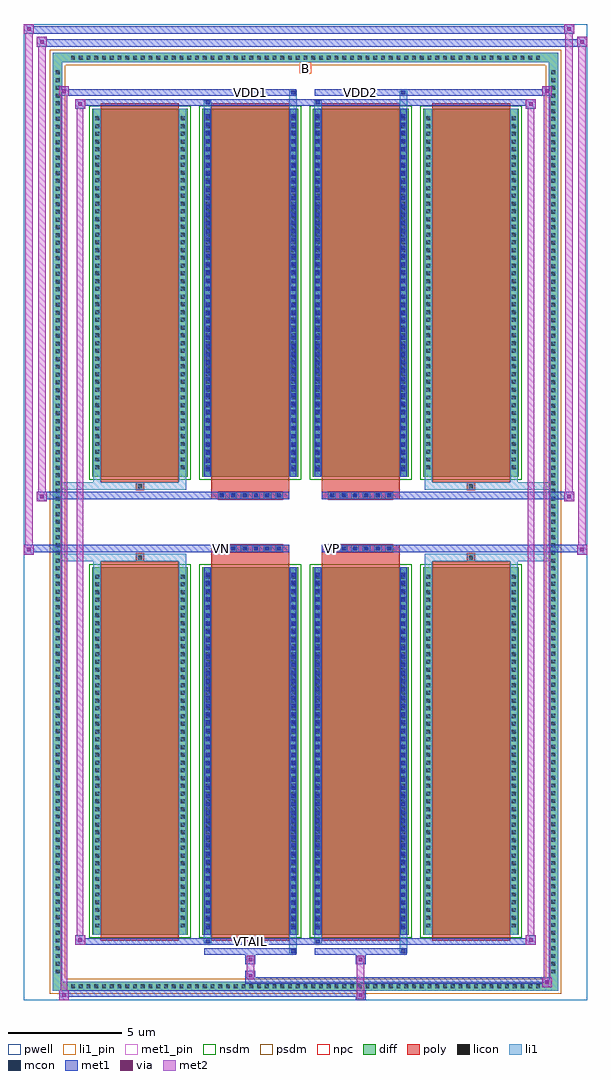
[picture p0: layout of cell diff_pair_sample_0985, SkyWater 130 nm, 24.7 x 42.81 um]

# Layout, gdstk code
import gdstk
lib = gdstk.Library(unit=1e-6, precision=5e-09)
def R(c, l, rs):  # rectangles x0, y0, x1, y1
    for r in rs: c.add(gdstk.rectangle(r[:2], r[2:], *l))
def A(c, l, x, y, w, h, nx, ny, dx, dy):  # array of equal rectangles
    R(c, l, [(x+i*dx, y+j*dy, x+i*dx+w, y+j*dy+h) for i in range(nx) for j in range(ny)])
def P(c, l, *ps):  # polygons
    for p in ps: c.add(gdstk.Polygon(p, *l))
pwell = (64, 44)
diff = (65, 20)
poly = (66, 20)
licon = (66, 44)
li1_pin = (67, 16)
li1 = (67, 20)
mcon = (67, 44)
met1_pin = (68, 16)
met1 = (68, 20)
via = (68, 44)
met2 = (69, 20)
nsdm = (93, 44)
psdm = (94, 20)
npc = (95, 20)

diff_pair_sample_0985 = lib.new_cell('diff_pair_sample_0985')
R(diff_pair_sample_0985, pwell, [(-12.35,-20.97,12.35,21.84), (-9.67,-19.16,-0.01,-0.8), (0.01,-19.16,9.67,-0.8), (-9.67,0.8,-0.01,19.16), (0.01,0.8,9.67,19.16)])
A(diff_pair_sample_0985, diff, -10.405, -20.57, 0.41, 0.41, 61, 2, 0.34, 40.73)
A(diff_pair_sample_0985, diff, -11.08, -19.925, 0.41, 0.41, 1, 117, 0, 0.34)
A(diff_pair_sample_0985, diff, 10.67, -19.925, 0.41, 0.41, 1, 117, 0, 0.34)
A(diff_pair_sample_0985, diff, -9.36, -18.115, 4.2, 16.13, 4, 2, 4.84, 20.1)
R(diff_pair_sample_0985, diff, [(-10.405,-20.57,10.405,-20.16), (-11.08,-19.925,-10.67,19.925), (10.67,-19.925,11.08,19.925), (-10.405,20.16,10.405,20.57)])
P(diff_pair_sample_0985, diff, [(11.08,20.57),(-11.08,20.57),(-11.08,-20.16),(-10.67,-20.16),(-10.67,20.16),(10.67,20.16),(10.67,-20.16),(-10.67,-20.16),(-11.08,-20.16),(-11.08,-20.57),(11.08,-20.57)])
A(diff_pair_sample_0985, poly, -8.97, -18.365, 3.42, 16.63, 4, 2, 4.84, 20.1)
A(diff_pair_sample_0985, poly, -3.835, -1.33, 0.33, 0.33, 6, 2, 0.5, 2.33)
A(diff_pair_sample_0985, poly, 1.005, -1.33, 0.33, 0.33, 6, 2, 0.5, 2.33)
R(diff_pair_sample_0985, poly, [(-7.425,-1.735,-7.095,-1.405), (-7.425,-1.735,-7.095,-1.405), (-4.13,-1.735,-0.71,-1.33), (0.71,-1.735,4.13,-1.33), (7.095,-1.735,7.425,-1.405), (7.095,-1.735,7.425,-1.405), (-4.13,-1.33,-0.71,-1), (0.71,-1.33,4.13,-1), (-4.13,1,-0.71,1.33), (0.71,1,4.13,1.33), (-4.13,1.33,-0.71,1.735), (0.71,1.33,4.13,1.735), (-7.425,1.405,-7.095,1.735), (-7.425,1.405,-7.095,1.735), (7.095,1.405,7.425,1.735), (7.095,1.405,7.425,1.735)])
A(diff_pair_sample_0985, licon, -10.285, -20.45, 0.17, 0.17, 61, 2, 0.34, 40.73)
A(diff_pair_sample_0985, licon, -10.96, -19.805, 0.17, 0.17, 1, 117, 0, 0.34)
A(diff_pair_sample_0985, licon, 10.79, -19.805, 0.17, 0.17, 1, 117, 0, 0.34)
A(diff_pair_sample_0985, licon, -9.22, -17.785, 0.17, 0.17, 1, 46, 0, 0.34)
A(diff_pair_sample_0985, licon, -5.47, -17.785, 0.17, 0.17, 1, 46, 0, 0.34)
A(diff_pair_sample_0985, licon, -4.38, -17.785, 0.17, 0.17, 1, 46, 0, 0.34)
A(diff_pair_sample_0985, licon, -0.63, -17.785, 0.17, 0.17, 1, 46, 0, 0.34)
A(diff_pair_sample_0985, licon, 0.46, -17.785, 0.17, 0.17, 1, 46, 0, 0.34)
A(diff_pair_sample_0985, licon, 4.21, -17.785, 0.17, 0.17, 1, 46, 0, 0.34)
A(diff_pair_sample_0985, licon, 5.3, -17.785, 0.17, 0.17, 1, 46, 0, 0.34)
A(diff_pair_sample_0985, licon, 9.05, -17.785, 0.17, 0.17, 1, 46, 0, 0.34)
A(diff_pair_sample_0985, licon, -3.755, -1.25, 0.17, 0.17, 6, 2, 0.5, 2.33)
A(diff_pair_sample_0985, licon, 1.085, -1.25, 0.17, 0.17, 6, 2, 0.5, 2.33)
A(diff_pair_sample_0985, licon, -9.22, 2.315, 0.17, 0.17, 1, 46, 0, 0.34)
A(diff_pair_sample_0985, licon, -5.47, 2.315, 0.17, 0.17, 1, 46, 0, 0.34)
A(diff_pair_sample_0985, licon, -4.38, 2.315, 0.17, 0.17, 1, 46, 0, 0.34)
A(diff_pair_sample_0985, licon, -0.63, 2.315, 0.17, 0.17, 1, 46, 0, 0.34)
A(diff_pair_sample_0985, licon, 0.46, 2.315, 0.17, 0.17, 1, 46, 0, 0.34)
A(diff_pair_sample_0985, licon, 4.21, 2.315, 0.17, 0.17, 1, 46, 0, 0.34)
A(diff_pair_sample_0985, licon, 5.3, 2.315, 0.17, 0.17, 1, 46, 0, 0.34)
A(diff_pair_sample_0985, licon, 9.05, 2.315, 0.17, 0.17, 1, 46, 0, 0.34)
R(diff_pair_sample_0985, licon, [(-7.345,-1.655,-7.175,-1.485), (7.175,-1.655,7.345,-1.485), (-7.345,1.485,-7.175,1.655), (7.175,1.485,7.345,1.655)])
R(diff_pair_sample_0985, li1_pin, [(-0.25,19.66,0.25,20.16)])
A(diff_pair_sample_0985, li1, -10.365, -20.53, 0.33, 0.33, 61, 2, 0.34, 40.73)
A(diff_pair_sample_0985, li1, -11.04, -19.885, 0.33, 0.33, 1, 117, 0, 0.34)
A(diff_pair_sample_0985, li1, 10.71, -19.885, 0.33, 0.33, 1, 117, 0, 0.34)
A(diff_pair_sample_0985, li1, -4.38, -17.875, 0.17, 0.17, 1, 44, 0, 0.36)
A(diff_pair_sample_0985, li1, -0.63, -17.875, 0.17, 0.17, 1, 44, 0, 0.36)
A(diff_pair_sample_0985, li1, 0.46, -17.875, 0.17, 0.17, 1, 44, 0, 0.36)
A(diff_pair_sample_0985, li1, 4.21, -17.875, 0.17, 0.17, 1, 44, 0, 0.36)
A(diff_pair_sample_0985, li1, -9.3, -17.865, 0.33, 0.33, 1, 46, 0, 0.34)
A(diff_pair_sample_0985, li1, -5.55, -17.865, 0.33, 0.33, 1, 46, 0, 0.34)
A(diff_pair_sample_0985, li1, -4.46, -17.865, 0.33, 0.33, 1, 46, 0, 0.34)
A(diff_pair_sample_0985, li1, -0.71, -17.865, 0.33, 0.33, 1, 46, 0, 0.34)
A(diff_pair_sample_0985, li1, 0.38, -17.865, 0.33, 0.33, 1, 46, 0, 0.34)
A(diff_pair_sample_0985, li1, 4.13, -17.865, 0.33, 0.33, 1, 46, 0, 0.34)
A(diff_pair_sample_0985, li1, 5.22, -17.865, 0.33, 0.33, 1, 46, 0, 0.34)
A(diff_pair_sample_0985, li1, 8.97, -17.865, 0.33, 0.33, 1, 46, 0, 0.34)
A(diff_pair_sample_0985, li1, -3.835, -1.33, 0.33, 0.33, 6, 2, 0.5, 2.33)
A(diff_pair_sample_0985, li1, 1.005, -1.33, 0.33, 0.33, 6, 2, 0.5, 2.33)
A(diff_pair_sample_0985, li1, -4.38, 2.225, 0.17, 0.17, 1, 44, 0, 0.36)
A(diff_pair_sample_0985, li1, -0.63, 2.225, 0.17, 0.17, 1, 44, 0, 0.36)
A(diff_pair_sample_0985, li1, 0.46, 2.225, 0.17, 0.17, 1, 44, 0, 0.36)
A(diff_pair_sample_0985, li1, 4.21, 2.225, 0.17, 0.17, 1, 44, 0, 0.36)
A(diff_pair_sample_0985, li1, -9.3, 2.235, 0.33, 0.33, 1, 46, 0, 0.34)
A(diff_pair_sample_0985, li1, -5.55, 2.235, 0.33, 0.33, 1, 46, 0, 0.34)
A(diff_pair_sample_0985, li1, -4.46, 2.235, 0.33, 0.33, 1, 46, 0, 0.34)
A(diff_pair_sample_0985, li1, -0.71, 2.235, 0.33, 0.33, 1, 46, 0, 0.34)
A(diff_pair_sample_0985, li1, 0.38, 2.235, 0.33, 0.33, 1, 46, 0, 0.34)
A(diff_pair_sample_0985, li1, 4.13, 2.235, 0.33, 0.33, 1, 46, 0, 0.34)
A(diff_pair_sample_0985, li1, 5.22, 2.235, 0.33, 0.33, 1, 46, 0, 0.34)
A(diff_pair_sample_0985, li1, 8.97, 2.235, 0.33, 0.33, 1, 46, 0, 0.34)
R(diff_pair_sample_0985, li1, [(-11.08,-20.57,-10.67,-20.16), (-11.08,-20.57,-10.67,-20.16), (-10.67,-20.57,10.67,-20.16), (10.67,-20.57,11.08,-20.16), (10.67,-20.57,11.08,-20.16), (-11.08,-20.16,-10.67,20.16), (10.67,-20.16,11.08,20.16), (-0.71,-18.92,-0.38,-18.115), (-0.63,-18.92,-0.46,-18.75), (4.13,-18.92,4.46,-18.115), (4.21,-18.92,4.38,-18.75), (-4.46,-18.49,-4.13,-18.115), (-4.38,-18.49,-4.21,-18.32), (0.38,-18.49,0.71,-18.115), (0.46,-18.49,0.63,-18.32), (-9.3,-18.115,-8.97,-1.985), (-5.55,-18.115,-5.22,-1.985), (-4.46,-18.115,-4.13,-1.985), (-0.71,-18.115,-0.38,-1.985), (0.38,-18.115,0.71,-1.985), (4.13,-18.115,4.46,-1.985), (5.22,-18.115,5.55,-1.985), (8.97,-18.115,9.3,-1.985), (-4.38,-17.875,-4.21,-2.225), (-0.63,-17.875,-0.46,-2.225), (0.46,-17.875,0.63,-2.225), (4.21,-17.875,4.38,-2.225), (-9.3,-1.985,-8.97,-1.405), (-5.55,-1.985,-5.22,-1.405), (5.22,-1.985,5.55,-1.405), (8.97,-1.985,9.3,-1.405), (-11.08,-1.735,-7.425,-1.405), (-9.3,-1.735,-7.425,-1.405), (-7.425,-1.735,-7.095,-1.405), (-7.095,-1.735,-5.22,-1.405), (5.22,-1.735,7.095,-1.405), (7.095,-1.735,7.425,-1.405), (7.095,-1.735,11.08,-1.405), (7.425,-1.735,9.3,-1.405), (-11.08,1.405,-7.425,1.735), (-9.3,1.405,-7.425,1.735), (-9.3,1.405,-8.97,1.985), (-7.425,1.405,-7.095,1.735), (-7.095,1.405,-5.22,1.735), (-5.55,1.405,-5.22,1.985), (5.22,1.405,7.095,1.735), (5.22,1.405,5.55,1.985), (7.095,1.405,7.425,1.735), (7.095,1.405,11.08,1.735), (7.425,1.405,9.3,1.735), (8.97,1.405,9.3,1.985), (-9.3,1.985,-8.97,18.115), (-5.55,1.985,-5.22,18.115), (-4.46,1.985,-4.13,18.115), (-0.71,1.985,-0.38,18.115), (0.38,1.985,0.71,18.115), (4.13,1.985,4.46,18.115), (5.22,1.985,5.55,18.115), (8.97,1.985,9.3,18.115), (-4.38,2.225,-4.21,17.875), (-0.63,2.225,-0.46,17.875), (0.46,2.225,0.63,17.875), (4.21,2.225,4.38,17.875), (-4.46,18.115,-4.13,18.49), (-0.71,18.115,-0.38,18.92), (0.38,18.115,0.71,18.49), (4.13,18.115,4.46,18.92), (-4.38,18.32,-4.21,18.49), (0.46,18.32,0.63,18.49), (-0.63,18.75,-0.46,18.92), (4.21,18.75,4.38,18.92), (-11.08,20.16,-10.67,20.57), (-11.08,20.16,-10.67,20.57), (-10.67,20.16,10.67,20.57), (10.67,20.16,11.08,20.57), (10.67,20.16,11.08,20.57)])
A(diff_pair_sample_0985, mcon, -4.38, -17.875, 0.17, 0.17, 1, 44, 0, 0.36)
A(diff_pair_sample_0985, mcon, -0.63, -17.875, 0.17, 0.17, 1, 44, 0, 0.36)
A(diff_pair_sample_0985, mcon, 0.46, -17.875, 0.17, 0.17, 1, 44, 0, 0.36)
A(diff_pair_sample_0985, mcon, 4.21, -17.875, 0.17, 0.17, 1, 44, 0, 0.36)
A(diff_pair_sample_0985, mcon, -3.755, -1.25, 0.17, 0.17, 6, 2, 0.5, 2.33)
A(diff_pair_sample_0985, mcon, 1.085, -1.25, 0.17, 0.17, 6, 2, 0.5, 2.33)
A(diff_pair_sample_0985, mcon, -4.38, 2.225, 0.17, 0.17, 1, 44, 0, 0.36)
A(diff_pair_sample_0985, mcon, -0.63, 2.225, 0.17, 0.17, 1, 44, 0, 0.36)
A(diff_pair_sample_0985, mcon, 0.46, 2.225, 0.17, 0.17, 1, 44, 0, 0.36)
A(diff_pair_sample_0985, mcon, 4.21, 2.225, 0.17, 0.17, 1, 44, 0, 0.36)
R(diff_pair_sample_0985, mcon, [(-0.63,-18.92,-0.46,-18.75), (4.21,-18.92,4.38,-18.75), (-4.38,-18.49,-4.21,-18.32), (0.46,-18.49,0.63,-18.32), (-4.38,18.32,-4.21,18.49), (0.46,18.32,0.63,18.49), (-0.63,18.75,-0.46,18.92), (4.21,18.75,4.38,18.92)])
R(diff_pair_sample_0985, met1_pin, [(-2.555,-18.53,-2.285,-18.26), (-3.805,-1.29,-3.535,-1.02), (1.035,-1.29,1.305,-1.02), (-2.555,18.71,-2.285,18.98), (2.285,18.71,2.555,18.98)])
A(diff_pair_sample_0985, met1, -4.44, -17.935, 0.29, 0.29, 1, 44, 0, 0.36)
A(diff_pair_sample_0985, met1, -0.69, -17.935, 0.29, 0.29, 1, 44, 0, 0.36)
A(diff_pair_sample_0985, met1, 0.4, -17.935, 0.29, 0.29, 1, 44, 0, 0.36)
A(diff_pair_sample_0985, met1, 4.15, -17.935, 0.29, 0.29, 1, 44, 0, 0.36)
A(diff_pair_sample_0985, met1, -3.815, -1.31, 0.29, 0.29, 6, 2, 0.5, 2.33)
A(diff_pair_sample_0985, met1, 1.025, -1.31, 0.29, 0.29, 6, 2, 0.5, 2.33)
A(diff_pair_sample_0985, met1, -4.44, 2.165, 0.29, 0.29, 1, 44, 0, 0.36)
A(diff_pair_sample_0985, met1, -0.69, 2.165, 0.29, 0.29, 1, 44, 0, 0.36)
A(diff_pair_sample_0985, met1, 0.4, 2.165, 0.29, 0.29, 1, 44, 0, 0.36)
A(diff_pair_sample_0985, met1, 4.15, 2.165, 0.29, 0.29, 1, 44, 0, 0.36)
R(diff_pair_sample_0985, met1, [(-10.81,-20.97,-10.38,-20.54), (2.205,-20.97,2.635,-20.54), (-10.81,-20.83,2.635,-20.54), (10.38,-20.4,10.81,-19.97), (-2.635,-20.26,10.81,-19.97), (-2.635,-20.12,-2.205,-19.69), (-2.635,-19.41,-2.205,-18.98), (2.205,-19.41,2.635,-18.98), (-4.44,-18.98,-0.4,-18.69), (-0.69,-18.98,-0.4,-18.69), (0.4,-18.98,4.44,-18.69), (4.15,-18.98,4.44,-18.69), (-10.1,-18.55,-9.67,-18.12), (-10.1,-18.55,-4.44,-18.26), (-4.44,-18.55,-4.15,-18.26), (-4.44,-18.55,-0.4,-18.26), (-0.4,-18.55,0.4,-18.26), (0.4,-18.55,0.69,-18.26), (0.4,-18.55,4.44,-18.26), (4.44,-18.55,10.1,-18.26), (9.67,-18.55,10.1,-18.12), (-4.44,-18.115,-4.15,-1.985), (-0.69,-18.115,-0.4,-1.985), (0.4,-18.115,0.69,-1.985), (4.15,-18.115,4.44,-1.985), (-12.35,-1.43,-11.92,-1), (11.92,-1.43,12.35,-1), (-12.35,-1.33,-0.71,-1), (-4.13,-1.33,-0.71,-1), (0.71,-1.33,4.13,-1), (0.71,-1.33,12.35,-1), (-11.78,0.9,-11.35,1.33), (11.35,0.9,11.78,1.33), (-11.78,1,-4.13,1.33), (-4.13,1,-0.71,1.33), (0.71,1,4.13,1.33), (4.13,1,11.78,1.33), (-4.44,1.985,-4.15,18.115), (-0.69,1.985,-0.4,18.115), (0.4,1.985,0.69,18.115), (4.15,1.985,4.44,18.115), (-10.1,18.12,-9.67,18.55), (9.67,18.12,10.1,18.55), (-10.1,18.26,-4.44,18.55), (-4.44,18.26,-4.15,18.55), (-4.44,18.26,-0.4,18.55), (-0.4,18.26,0.4,18.55), (0.4,18.26,0.69,18.55), (0.4,18.26,4.44,18.55), (4.44,18.26,10.1,18.55), (-10.81,18.69,-10.38,19.12), (-10.81,18.69,-4.44,18.98), (-4.44,18.69,-0.4,18.98), (-0.69,18.69,-0.4,18.98), (0.4,18.69,4.44,18.98), (4.15,18.69,4.44,18.98), (4.44,18.69,10.81,18.98), (10.38,18.69,10.81,19.12), (-11.78,20.84,-11.35,21.27), (-11.78,20.84,-9.67,21.17), (-9.67,20.84,9.67,21.17), (9.67,20.84,12.35,21.17), (11.92,20.84,12.35,21.27), (-12.35,21.41,-11.92,21.84), (-12.35,21.41,-9.67,21.74), (-9.67,21.41,9.67,21.74), (9.67,21.41,11.78,21.74), (11.35,21.41,11.78,21.84)])
R(diff_pair_sample_0985, via, [(-10.67,-20.83,-10.52,-20.68), (2.345,-20.83,2.495,-20.68), (10.52,-20.26,10.67,-20.11), (-2.495,-19.98,-2.345,-19.83), (-2.495,-19.27,-2.345,-19.12), (2.345,-19.27,2.495,-19.12), (-9.96,-18.41,-9.81,-18.26), (9.81,-18.41,9.96,-18.26), (-12.21,-1.29,-12.06,-1.14), (12.06,-1.29,12.21,-1.14), (-11.64,1.04,-11.49,1.19), (11.49,1.04,11.64,1.19), (-9.96,18.26,-9.81,18.41), (9.81,18.26,9.96,18.41), (-10.67,18.83,-10.52,18.98), (10.52,18.83,10.67,18.98), (-11.64,20.98,-11.49,21.13), (12.06,20.98,12.21,21.13), (-12.21,21.55,-12.06,21.7), (11.49,21.55,11.64,21.7)])
R(diff_pair_sample_0985, met2, [(-10.81,-20.97,-10.38,-20.54), (-10.74,-20.97,-10.45,19.12), (-10.45,-20.97,-10.38,-20.54), (-10.76,-20.92,-10.43,-20.59), (2.255,-20.92,2.585,-20.59), (2.255,-20.59,2.585,-19.36), (10.38,-20.4,10.81,-19.97), (10.45,-20.4,10.74,19.12), (10.74,-20.4,10.81,-19.97), (10.43,-20.35,10.76,-20.02), (-2.585,-20.07,-2.255,-19.74), (-2.585,-19.74,-2.255,-19.36), (-2.585,-19.36,-2.255,-19.03), (2.255,-19.36,2.585,-19.03), (-10.1,-18.55,-9.67,-18.12), (-10.03,-18.55,-9.74,18.55), (-9.74,-18.55,-9.67,-18.12), (9.67,-18.55,10.1,-18.12), (9.74,-18.55,10.03,18.55), (10.03,-18.55,10.1,-18.12), (-10.05,-18.5,-9.72,-18.17), (9.72,-18.5,10.05,-18.17), (-12.35,-1.43,-11.92,-1), (-12.3,-1.43,-11.97,21.84), (-11.97,-1.43,-11.92,-1), (11.92,-1.43,12.35,-1), (11.97,-1.43,12.3,21.27), (12.3,-1.43,12.35,-1), (-12.3,-1.38,-11.97,-1.05), (11.97,-1.38,12.3,-1.05), (-11.78,0.9,-11.35,1.33), (-11.73,0.9,-11.4,21.27), (-11.4,0.9,-11.35,1.33), (11.35,0.9,11.78,1.33), (11.4,0.9,11.73,21.84), (11.73,0.9,11.78,1.33), (-11.73,0.95,-11.4,1.28), (11.4,0.95,11.73,1.28), (-10.1,18.12,-9.67,18.55), (-9.74,18.12,-9.67,18.55), (9.67,18.12,10.1,18.55), (10.03,18.12,10.1,18.55), (-10.05,18.17,-9.72,18.5), (9.72,18.17,10.05,18.5), (-10.81,18.69,-10.38,19.12), (-10.45,18.69,-10.38,19.12), (10.38,18.69,10.81,19.12), (10.74,18.69,10.81,19.12), (-10.76,18.74,-10.43,19.07), (10.43,18.74,10.76,19.07), (-11.78,20.84,-11.35,21.27), (-11.4,20.84,-11.35,21.27), (11.92,20.84,12.35,21.27), (12.3,20.84,12.35,21.27), (-11.73,20.89,-11.4,21.22), (11.97,20.89,12.3,21.22), (-12.35,21.41,-11.92,21.84), (-11.97,21.41,-11.92,21.84), (11.35,21.41,11.78,21.84), (11.73,21.41,11.78,21.84), (-12.3,21.46,-11.97,21.79), (11.4,21.46,11.73,21.79)])
A(diff_pair_sample_0985, nsdm, -9.49, -18.245, 4.46, 16.39, 4, 2, 4.84, 20.1)
P(diff_pair_sample_0985, psdm, [(11.21,20.7),(-11.21,20.7),(-11.21,-20.03),(-10.54,-20.03),(-10.54,20.03),(10.54,20.03),(10.54,-20.03),(-10.54,-20.03),(-11.21,-20.03),(-11.21,-20.7),(11.21,-20.7)])
A(diff_pair_sample_0985, npc, -3.855, -1.35, 0.37, 0.37, 6, 2, 0.5, 2.33)
A(diff_pair_sample_0985, npc, 0.985, -1.35, 0.37, 0.37, 6, 2, 0.5, 2.33)
R(diff_pair_sample_0985, npc, [(-7.445,-1.755,-7.075,-1.385), (7.075,-1.755,7.445,-1.385), (-3.855,-1.35,-2.985,-0.98), (-3.855,-1.35,-2.985,-0.98), (-3.355,-1.35,-2.485,-0.98), (-3.355,-1.35,-2.485,-0.98), (-2.855,-1.35,-1.985,-0.98), (-2.855,-1.35,-1.985,-0.98), (-2.355,-1.35,-1.485,-0.98), (-2.355,-1.35,-1.485,-0.98), (-1.855,-1.35,-0.985,-0.98), (-1.855,-1.35,-0.985,-0.98), (0.985,-1.35,1.855,-0.98), (0.985,-1.35,1.855,-0.98), (1.485,-1.35,2.355,-0.98), (1.485,-1.35,2.355,-0.98), (1.985,-1.35,2.855,-0.98), (1.985,-1.35,2.855,-0.98), (2.485,-1.35,3.355,-0.98), (2.485,-1.35,3.355,-0.98), (2.985,-1.35,3.855,-0.98), (2.985,-1.35,3.855,-0.98), (-3.855,0.98,-2.985,1.35), (-3.855,0.98,-2.985,1.35), (-3.355,0.98,-2.485,1.35), (-3.355,0.98,-2.485,1.35), (-2.855,0.98,-1.985,1.35), (-2.855,0.98,-1.985,1.35), (-2.355,0.98,-1.485,1.35), (-2.355,0.98,-1.485,1.35), (-1.855,0.98,-0.985,1.35), (-1.855,0.98,-0.985,1.35), (0.985,0.98,1.855,1.35), (0.985,0.98,1.855,1.35), (1.485,0.98,2.355,1.35), (1.485,0.98,2.355,1.35), (1.985,0.98,2.855,1.35), (1.985,0.98,2.855,1.35), (2.485,0.98,3.355,1.35), (2.485,0.98,3.355,1.35), (2.985,0.98,3.855,1.35), (2.985,0.98,3.855,1.35), (-7.445,1.385,-7.075,1.755), (7.075,1.385,7.445,1.755)])
diff_pair_sample_0985.add(gdstk.Label('VTAIL', (-2.42,-18.395), layer=68, texttype=5))
diff_pair_sample_0985.add(gdstk.Label('VN', (-3.67,-1.155), layer=68, texttype=5))
diff_pair_sample_0985.add(gdstk.Label('VP', (1.17,-1.155), layer=68, texttype=5))
diff_pair_sample_0985.add(gdstk.Label('B', (0,19.91), layer=67, texttype=5))
diff_pair_sample_0985.add(gdstk.Label('VDD2', (2.42,18.845), layer=68, texttype=5))
diff_pair_sample_0985.add(gdstk.Label('VDD1', (-2.42,18.845), layer=68, texttype=5))

lib.write_gds('diff_pair_sample_0985.gds')
